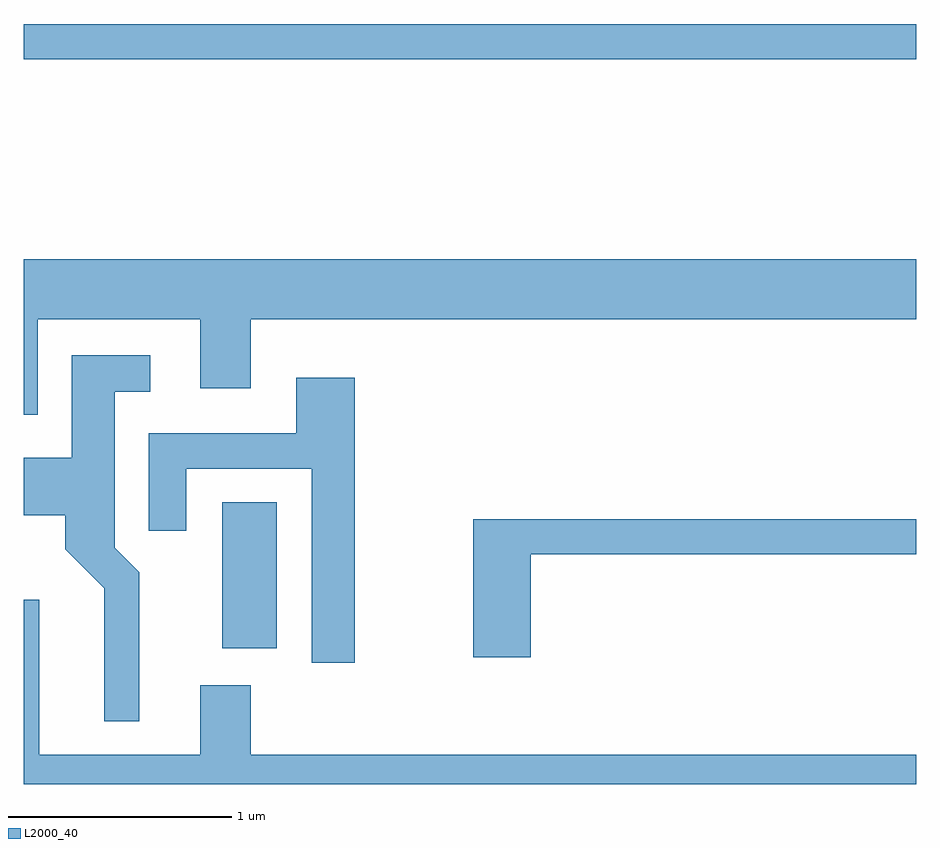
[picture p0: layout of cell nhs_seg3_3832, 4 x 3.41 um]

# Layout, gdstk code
import gdstk
lib = gdstk.Library(unit=1e-6, precision=1e-09)
def R(c, l, rs):  # rectangles x0, y0, x1, y1
    for r in rs: c.add(gdstk.rectangle(r[:2], r[2:], *l))
def P(c, l, *ps):  # polygons
    for p in ps: c.add(gdstk.Polygon(p, *l))
L2000_40 = (2000, 40)

nhs_seg3_3832 = lib.new_cell('nhs_seg3_3832')
R(nhs_seg3_3832, L2000_40, [(298.501,1164.501,298.744,1165.154), (297.611,1167.141,301.611,1167.299)])
P(nhs_seg3_3832, L2000_40, [(297.674,1165.976),(298.401,1165.976),(298.401,1165.666),(298.629,1165.666),(298.629,1165.976),(301.611,1165.976),(301.611,1166.244),(297.611,1166.244),(297.611,1165.548),(297.674,1165.548)],
  [(298.129,1164.842),(298.019,1164.952),(298.019,1165.651),(298.178,1165.651),(298.178,1165.814),(297.826,1165.814),(297.826,1165.354),(297.611,1165.354),(297.611,1165.096),(297.796,1165.096),(297.796,1164.944),(297.971,1164.769),(297.971,1164.173),(298.129,1164.173)],
  [(299.094,1165.714),(298.831,1165.714),(298.831,1165.464),(298.171,1165.464),(298.171,1165.028),(298.339,1165.028),(298.339,1165.306),(298.901,1165.306),(298.901,1164.436),(299.094,1164.436)],
  [(299.884,1164.921),(301.611,1164.921),(301.611,1165.079),(299.626,1165.079),(299.626,1164.461),(299.884,1164.461)],
  [(301.611,1164.024),(298.629,1164.024),(298.629,1164.334),(298.401,1164.334),(298.401,1164.024),(297.679,1164.024),(297.679,1164.719),(297.611,1164.719),(297.611,1163.892),(301.611,1163.892)])

lib.write_gds('nhs_seg3_3832.gds')
